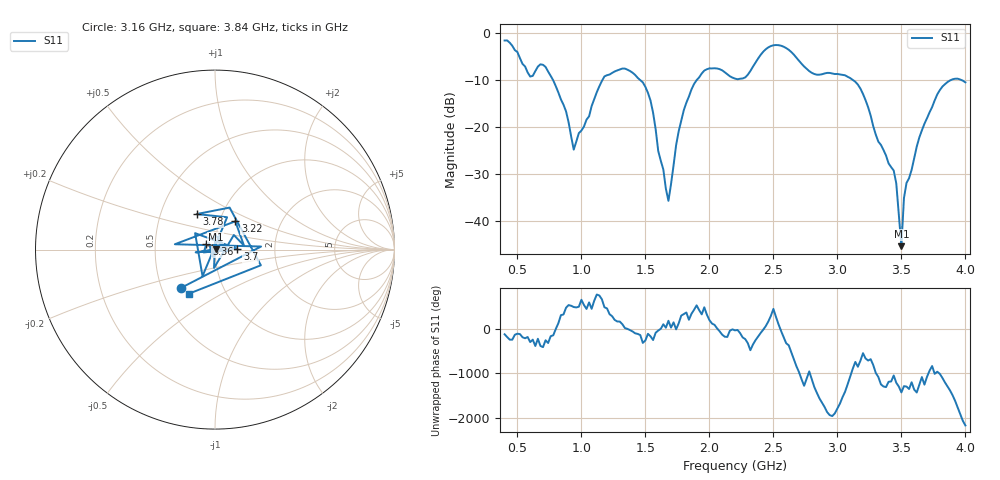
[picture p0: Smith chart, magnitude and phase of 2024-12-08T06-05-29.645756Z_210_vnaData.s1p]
!Created with skrf (http://scikit-rf.org).
# Hz S RI R 50.0
!freq ReS11 ImS11
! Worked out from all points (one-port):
!   181 points, 400 MHz to 4 GHz, reference 50 ohm
!   lowest |S11| = -45.4 dB at 3.5 GHz (marker M1), VSWR 1.01, Z = 50.5 + j0.138 ohm
!   |S11| at or under -10 dB: 779.3 MHz to 1.163 GHz (384 MHz wide, 39.5 % of centre); 1.461 GHz to 1.9 GHz (438.6 MHz wide, 26.1 % of centre); 3.124 GHz to 3.884 GHz (759.9 MHz wide, 21.7 % of centre) (the widest 3 of 4)
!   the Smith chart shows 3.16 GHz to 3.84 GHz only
!   S11 on the Smith chart (normalised r, x): 3.16 GHz: 0.63, -0.29; 3.22 GHz: 1.19, +0.39; 3.36 GHz: 0.91, +0.06; 3.7 GHz: 1.28, +0.01; 3.78 GHz: 0.76, +0.32; 3.84 GHz: 0.67, -0.36
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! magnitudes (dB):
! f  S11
! 400 MHz  -1.5
! 600 MHz  -9.2
! 720 MHz  -7.2
! 860 MHz  -15.2
! 940 MHz  -24.8
! 1.18 GHz  -9.2
! 1.3 GHz  -7.7
! 1.52 GHz  -12.7
! 1.68 GHz  -35.7
! 1.76 GHz  -20.9
! 1.86 GHz  -12.0
! 1.96 GHz  -7.9
! 2.2 GHz  -9.6
! 2.48 GHz  -2.7
! 2.66 GHz  -4.6
! 2.82 GHz  -8.7
! 3.1 GHz  -9.5
! 3.16 GHz  -10.9
! 3.22 GHz  -14.3
! 3.36 GHz  -24.9
! 3.46 GHz  -32.0
! 3.5 GHz  -45.4
! 3.52 GHz  -35.1
! 3.56 GHz  -30.9
! 3.7 GHz  -18.1
! 3.78 GHz  -13.0
! 3.84 GHz  -10.9
! 4 GHz  -10.5
